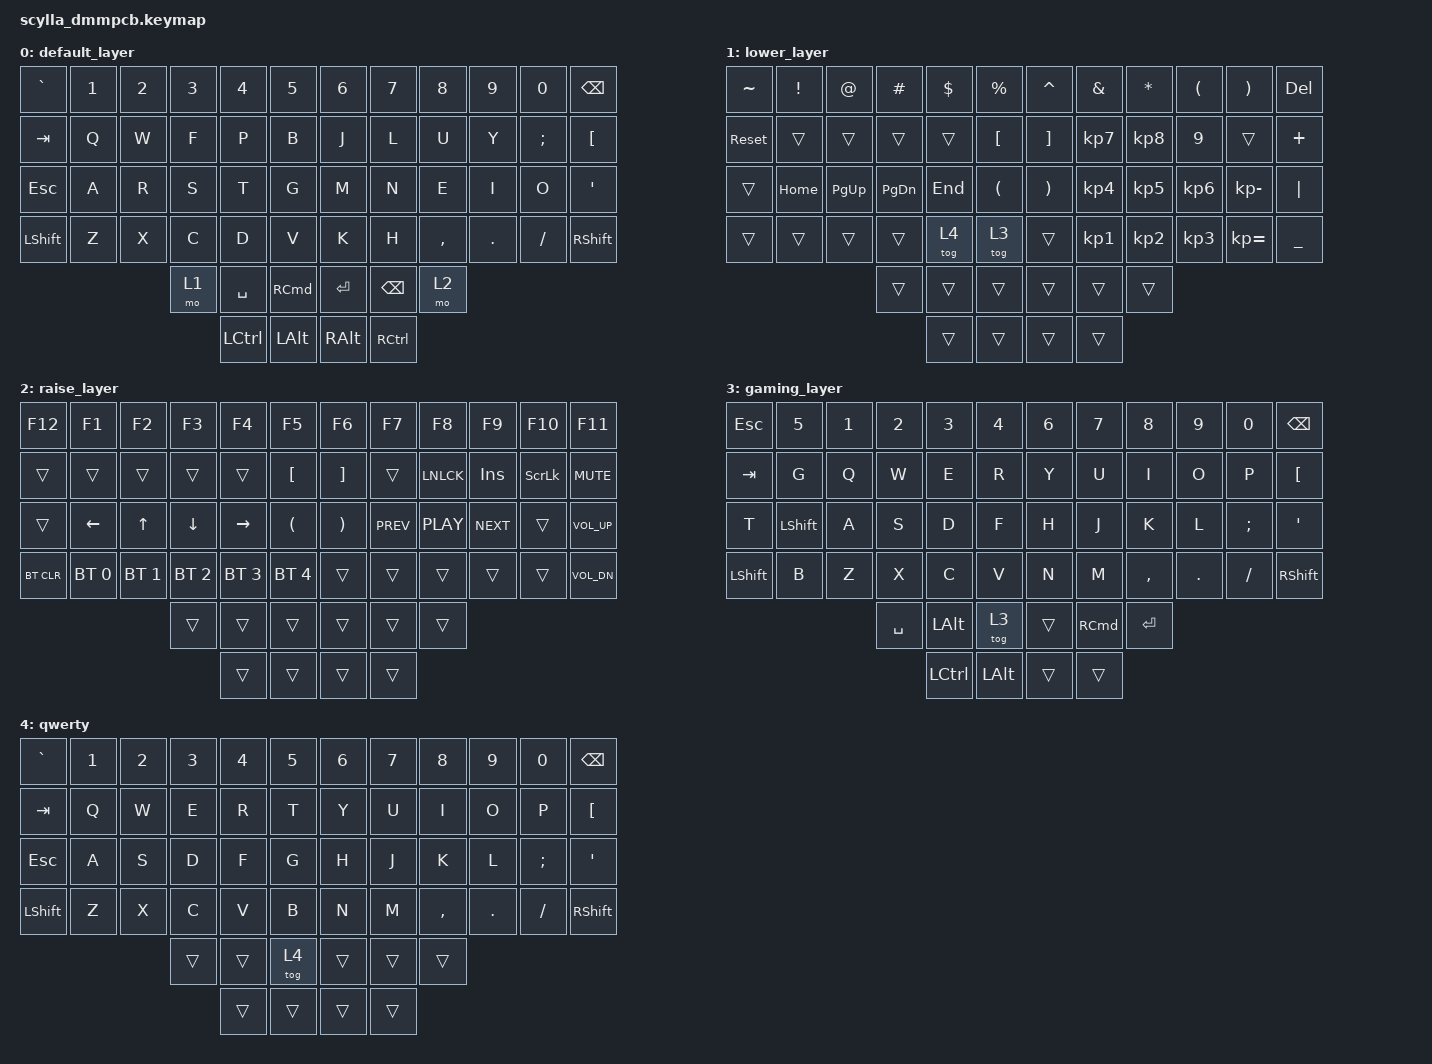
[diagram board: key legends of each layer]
/*
 * Copyright (c) 2020 ZMK Contributors
 *
 * SPDX-License-Identifier: MIT
 */


#include <behaviors.dtsi>
#include <dt-bindings/zmk/keys.h>
#include <dt-bindings/zmk/bt.h>


/ {
	keymap {
		compatible = "zmk,keymap";

		default_layer {
// ------------------------------------------------------------------------------------------------------------
// |   `   |  1  |  2  |  3   |  4   |  5   |                   |  6   |  7    |     8      |  9      |   0    |  BKSP |
// |  TAB  |  Q  |  W  |  F   |  P   |  B   |                   |  J   |  L    |     U      |  Y      |   ;    |   [   |
// |  ESC  |  A  |  R  |  S   |  T   |  G   |                   |  M   |  N    |     E      |  I      |   O    |   '   |
// | SHIFT |  Z  |  X  |  C   |  D   |  V   |                   |  K   |  H    |     ,      |  .      |   /    | SHIFT |
//                     | ENTR | SPACE| LOWR |                   | RAISE| BSPC  |    RCMD    |
//                            | CTRL | ALT  |                   | CTRL | ALT  | 
			bindings = <
&kp GRAVE &kp N1    &kp N2   &kp N3    &kp N4    &kp N5          &kp N6   &kp N7    &kp N8    &kp N9    &kp N0   &kp BSPC
&kp TAB   &kp Q     &kp W    &kp F     &kp P     &kp B           &kp J    &kp L     &kp U     &kp Y     &kp SEMI &kp LBKT
&kp ESC   &kp A     &kp R    &kp S     &kp T     &kp G           &kp M    &kp N     &kp E     &kp I     &kp O    &kp SQT
&kp LSHFT &kp Z     &kp X    &kp C     &kp D     &kp V           &kp K    &kp H     &kp COMMA &kp DOT   &kp FSLH &kp RSHFT
                             &mo 1 &kp SPACE     &kp RCMD        &kp ENTER &kp BSPC &mo 2
                                       &kp LCTRL &kp LALT        &kp RALT &kp RCTRL
			>;
		};
        
		lower_layer {
// ------------------------------------------------------------------------------------------------------------
// | TILDE |  !   |  @    |  #    |  $   |  %   |                   |  ^   |  &    |  *    |  (   |   )   |  DEL  |
// | RESET |      |       |       |      |  [   |                   |  ]   |  7    |  8    |  9   |       |   +   |
// |       | HOME | PG UP | PG DN | END  |  (   |                   |  )   |  4    |  5    |  6   |   -   |  "|"  |
// |       |      |       |       | CLMK |GAME_L|                   |      |  1    |  2    |  3   |   =   |   _   |
//                        |  SPCE | BKSP |      |                   |      | RCMD  | ENTR  |
//                                | CTRL | ALT  |                   |      |       | 

			bindings = <
&kp TILDE &kp EXCL  &kp AT    &kp HASH  &kp DLLR  &kp PRCNT                 &kp CARET &kp AMPS   &kp STAR  &kp LPAR  &kp RPAR     &kp DEL
&sys_reset    &trans    &trans    &trans    &trans    &kp LBKT                  &kp RBKT  &kp KP_N7  &kp KP_N8 &kp N9    &trans       &kp PLUS
&trans    &kp HOME  &kp PG_UP &kp PG_DN &kp END   &kp LPAR                  &kp RPAR  &kp KP_N4  &kp KP_N5 &kp KP_N6 &kp KP_MINUS &kp PIPE
&trans    &trans    &trans    &trans    &tog 4    &tog 3                    &trans    &kp KP_N1  &kp KP_N2 &kp KP_N3 &kp KP_EQUAL &kp UNDER
                              &trans    &trans    &trans                    &trans    &trans     &trans 
                                        &trans    &trans                    &trans    &trans
            >;
        };

		raise_layer {
// ------------------------------------------------------------------------------------------------------------
// | F12    |  F1      |  F2       |   F3     |  F4      |  F5      |                    |  F6  |  F7  |     F8   |  F9   |   F10    |  F11   | 
// |        |          |           |          |          |  [       |                    |  ]   |      | NUM LOCK |  INS  | SCL LOCK |  MUTE  |
// |        | LEFT     |  UP       | DOWN     | RIGHT    |  (       |                    |  )   | PREV | PLAY     | NEXT  |          | VOL UP |
// | BT CLR | BT SEL 0 | BT SEL 1  | BT SEL 2 | BT SEL 3 | BT SEL 4 |                    |      |      |          |       |          | VOL DN |
//                                 |  SPCE    | BKSP     |          |                    |      | RCMD | ENTR     |
//                                            | CTRL     | ALT      |                    |      |      | 
          
            bindings = <
&kp F12    &kp F1       &kp F2       &kp F3       &kp F4       &kp F5                    &kp F6    &kp F7     &kp F8     &kp F9     &kp F10   &kp F11
&trans     &trans       &trans       &trans       &trans       &kp LBKT                  &kp RBKT  &trans     &kp LNLCK  &kp INS    &kp SLCK  &kp K_MUTE
&trans     &kp LEFT     &kp UP       &kp DOWN     &kp RIGHT    &kp LPAR                  &kp RPAR  &kp K_PREV &kp C_PLAY &kp K_NEXT &trans    &kp K_VOL_UP 
&bt BT_CLR &bt BT_SEL 0 &bt BT_SEL 1 &bt BT_SEL 2 &bt BT_SEL 3 &bt BT_SEL 4              &trans    &trans     &trans     &trans     &trans    &kp K_VOL_DN
                                     &trans       &trans       &trans                    &trans    &trans    &trans 
                                                  &trans       &trans                    &trans    &trans
            >;
        };

        gaming_layer {
// ------------------------------------------------------------------------------------------------------------
// |  ESC  |  5  |  1  |  2  |  3    |  4   |                   |  6   |  7    |  8    |  9   |   0   |  BKSP |
// |  TAB  |  G  |  Q  |  W   |  E   |  R   |                   |  Y   |  U    |  I    |  O   |   P   |   [   |
// |   T   |SHIFT|  A  |  S   |  D   |  F   |                   |  H   |  J    |  K    |  L   |   ;   |   '   |
// | SHIFT |CTRL |  Z  |  X   |  C   |  V   |                   |  N   |  M    |  ,    |  .   |   /   | SHIFT |
//                     | SPCE | BKSP |      |                   |      | RCMD  | ENTR  |
//                            | CTRL | ALT  |                   |      |       | 
			bindings = <
&kp ESC   &kp N5    &kp N1  &kp N2    &kp N3    &kp N4           &kp N6    &kp N7    &kp N8    &kp N9    &kp N0   &kp BSPC
&kp TAB   &kp G     &kp Q   &kp W     &kp E     &kp R            &kp Y     &kp U     &kp I     &kp O     &kp P    &kp LBKT
&kp T     &kp LSHFT &kp A   &kp S     &kp D     &kp F            &kp H     &kp J     &kp K     &kp L     &kp SEMI &kp SQT
&kp LSHFT &kp B     &kp Z   &kp X     &kp C     &kp V            &kp N     &kp M     &kp COMMA &kp DOT   &kp FSLH &kp RSHFT
                            &kp SPACE &kp LALT  &tog 3           &trans    &kp RCMD  &kp ENTER 
                                      &kp LCTRL &kp LALT         &trans    &trans
			>;
		};

		qwerty {
// ------------------------------------------------------------------------------------------------------------
// |   `   |  1  |  2  |  3   |  4   |  5   |                   |  6   |  7    |     8      |  9      |   0    |  BKSP |
// |  TAB  |  Q  |  W  |  E   |  R   |  T   |                   |  Y   |  U    |     I      |  O      |   P    |   [   |
// |  ESC  |  A  |  S  |  D   |  F   |  G   |                   |  H   |  J    |     K      |  L      |   ;    |   '   |
// | SHIFT |  Z  |  X  |  C   |  V   |  B   |                   |  N   |  M    |     ,      |  .      |   /    | SHIFT |
//                     | SPCE | BKSP | LOWR |                   | RAISE| RCMD  |    ENTR    |
//                            | CTRL | ALT  |                   | CTRL | ALT | 
			bindings = <
&kp GRAVE &kp N1    &kp N2   &kp N3    &kp N4    &kp N5          &kp N6  &kp N7    &kp N8    &kp N9    &kp N0   &kp BSPC
&kp TAB   &kp Q     &kp W    &kp E     &kp R     &kp T           &kp Y   &kp U     &kp I     &kp O     &kp P    &kp LBKT
&kp ESC   &kp A     &kp S    &kp D     &kp F     &kp G           &kp H   &kp J     &kp K     &kp L     &kp SEMI &kp SQT
&kp LSHFT &kp Z     &kp X    &kp C     &kp V     &kp B           &kp N   &kp M     &kp COMMA &kp DOT   &kp FSLH &kp RSHFT
                             &trans    &trans    &tog 4          &trans    &trans    &trans 
                                       &trans    &trans          &trans    &trans 
			>;
		};
	};
};
